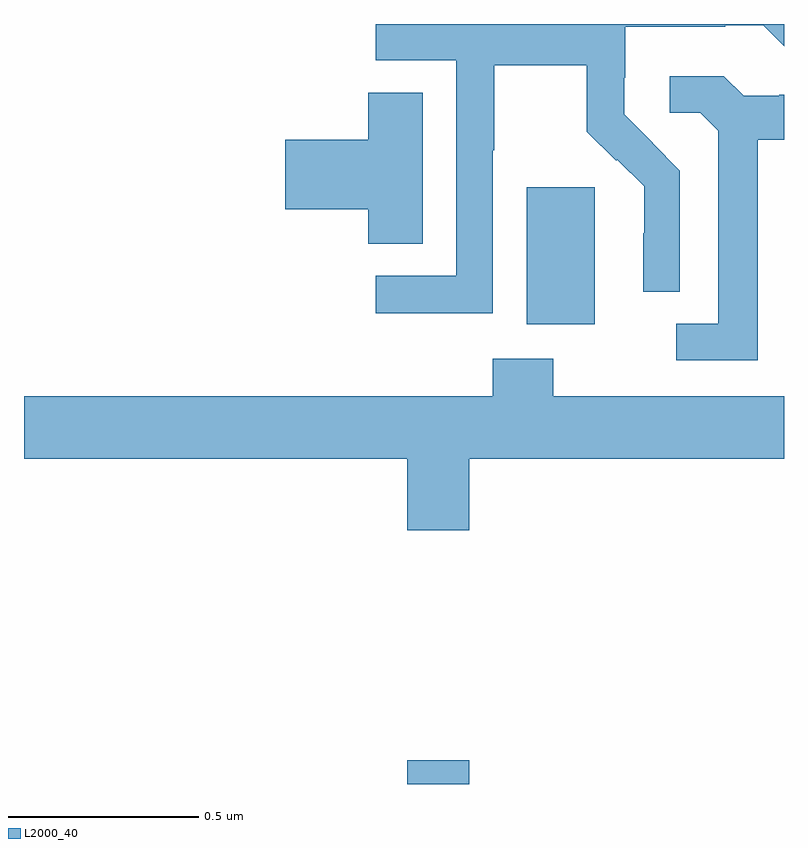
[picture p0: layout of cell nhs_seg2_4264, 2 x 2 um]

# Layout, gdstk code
import gdstk
lib = gdstk.Library(unit=1e-6, precision=1e-09)
def R(c, l, rs):  # rectangles x0, y0, x1, y1
    for r in rs: c.add(gdstk.rectangle(r[:2], r[2:], *l))
def P(c, l, *ps):  # polygons
    for p in ps: c.add(gdstk.Polygon(p, *l))
L2000_40 = (2000, 40)

nhs_seg2_4264 = lib.new_cell('nhs_seg2_4264')
R(nhs_seg2_4264, L2000_40, [(165.008,626.8,165.172,626.863), (165.323,628.01,165.502,628.371)])
P(nhs_seg2_4264, L2000_40, [(165.234,628.468),(165.237,628.468),(165.237,628.692),(165.481,628.692),(165.481,628.517),(165.558,628.44),(165.561,628.443),(165.632,628.373),(165.632,628.25),(165.63,628.25),(165.63,628.096),(165.726,628.096),(165.726,628.414),(165.653,628.487),(165.654,628.488),(165.58,628.562),(165.58,628.659),(165.582,628.659),(165.582,628.793),(165.845,628.793),(165.845,628.797),(165.945,628.797),(166,628.742),(166,628.8),(164.925,628.8),(164.925,628.704),(165.138,628.704),(165.138,628.137),(164.925,628.137),(164.925,628.039),(165.234,628.039)],
  [(165.931,628.496),(166,628.496),(166,628.614),(165.988,628.614),(165.988,628.611),(165.894,628.611),(165.842,628.663),(165.699,628.663),(165.699,628.566),(165.78,628.566),(165.827,628.519),(165.827,628.011),(165.717,628.011),(165.717,627.915),(165.931,627.915)],
  [(165.049,628.619),(164.906,628.619),(164.906,628.496),(164.688,628.496),(164.688,628.313),(164.906,628.313),(164.906,628.222),(165.049,628.222)],
  [(165.172,627.656),(166,627.656),(166,627.82),(165.393,627.82),(165.393,627.919),(165.233,627.919),(165.233,627.82),(164,627.82),(164,627.656),(165.008,627.656),(165.008,627.468),(165.172,627.468)])

lib.write_gds('nhs_seg2_4264.gds')
